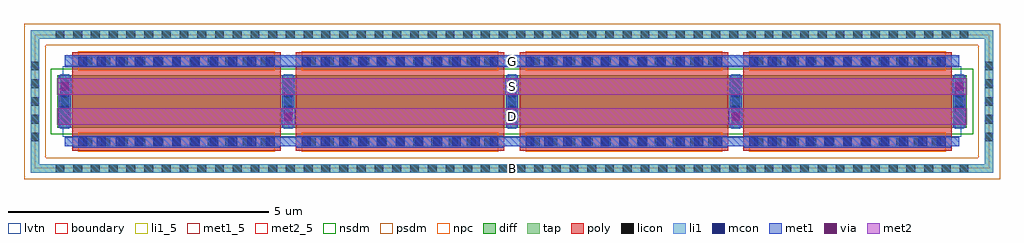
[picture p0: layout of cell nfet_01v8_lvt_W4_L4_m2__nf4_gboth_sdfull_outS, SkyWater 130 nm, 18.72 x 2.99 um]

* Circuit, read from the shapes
.subckt nfet_01v8_lvt_W4_L4_m2__nf4_gboth_sdfull_outS B D G S
XM1 D G S B sky130_fd_pr__nfet_01v8_lvt w=1 l=4 m=4
.ends

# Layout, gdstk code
import gdstk
lib = gdstk.Library(unit=1e-6, precision=1e-09)
def R(c, l, rs):  # rectangles x0, y0, x1, y1
    for r in rs: c.add(gdstk.rectangle(r[:2], r[2:], *l))
def A(c, l, x, y, w, h, nx, ny, dx, dy):  # array of equal rectangles
    R(c, l, [(x+i*dx, y+j*dy, x+i*dx+w, y+j*dy+h) for i in range(nx) for j in range(ny)])
diff = (65, 20)
tap = (65, 44)
poly = (66, 20)
licon = (66, 44)
li1_5 = (67, 5)
li1 = (67, 20)
mcon = (67, 44)
met1_5 = (68, 5)
met1 = (68, 20)
via = (68, 44)
met2_5 = (69, 5)
met2 = (69, 20)
nsdm = (93, 44)
psdm = (94, 20)
npc = (95, 20)
lvtn = (125, 44)
boundary = (235, 4)

sky130_fd_pr__nfet_01v8_ = lib.new_cell('sky130_fd_pr__nfet_01v8_lvt_U4YZBR')
R(sky130_fd_pr__nfet_01v8_, diff, [(-8.725,-0.5,8.725,0.5)])
R(sky130_fd_pr__nfet_01v8_, tap, [(-9.235,-1.37,9.235,-1.2), (-9.235,-1.2,-9.065,1.2), (9.065,-1.2,9.235,1.2), (-9.235,1.2,9.235,1.37)])
A(sky130_fd_pr__nfet_01v8_, poly, -8.435, -0.94, 4, 1.88, 4, 1, 4.29, 0)
A(sky130_fd_pr__nfet_01v8_, licon, -8.755, -1.37, 0.17, 0.17, 52, 2, 0.34, 2.57)
A(sky130_fd_pr__nfet_01v8_, licon, -8.22, -0.86, 0.17, 0.17, 11, 2, 0.34, 1.55)
A(sky130_fd_pr__nfet_01v8_, licon, -3.93, -0.86, 0.17, 0.17, 11, 2, 0.34, 1.55)
A(sky130_fd_pr__nfet_01v8_, licon, 0.36, -0.86, 0.17, 0.17, 11, 2, 0.34, 1.55)
A(sky130_fd_pr__nfet_01v8_, licon, 4.65, -0.86, 0.17, 0.17, 11, 2, 0.34, 1.55)
A(sky130_fd_pr__nfet_01v8_, licon, -9.235, -0.765, 0.17, 0.17, 1, 5, 0, 0.34)
A(sky130_fd_pr__nfet_01v8_, licon, 9.065, -0.765, 0.17, 0.17, 1, 5, 0, 0.34)
A(sky130_fd_pr__nfet_01v8_, licon, -8.665, -0.425, 0.17, 0.17, 5, 3, 4.29, 0.34)
A(sky130_fd_pr__nfet_01v8_, li1, -8.665, -0.52, 0.17, 1.04, 5, 1, 4.29, 0)
R(sky130_fd_pr__nfet_01v8_, li1, [(-9.235,-1.37,9.235,-1.2), (-9.235,-1.2,-9.065,1.2), (9.065,-1.2,9.235,1.2), (-8.58,-0.86,8.58,-0.69), (-8.58,0.69,8.58,0.86), (-9.235,1.2,9.235,1.37)])
A(sky130_fd_pr__nfet_01v8_, mcon, -8.32, -0.86, 0.17, 0.17, 11, 2, 0.36, 1.55)
A(sky130_fd_pr__nfet_01v8_, mcon, -4.03, -0.86, 0.17, 0.17, 11, 2, 0.36, 1.55)
A(sky130_fd_pr__nfet_01v8_, mcon, 0.26, -0.86, 0.17, 0.17, 11, 2, 0.36, 1.55)
A(sky130_fd_pr__nfet_01v8_, mcon, 4.55, -0.86, 0.17, 0.17, 11, 2, 0.36, 1.55)
A(sky130_fd_pr__nfet_01v8_, mcon, -8.665, -0.265, 0.17, 0.17, 5, 2, 4.29, 0.36)
A(sky130_fd_pr__nfet_01v8_, met1, -8.415, -0.89, 3.96, 0.03, 4, 2, 4.29, 0.2)
A(sky130_fd_pr__nfet_01v8_, met1, -8.695, -0.5, 0.23, 1, 5, 1, 4.29, 0)
A(sky130_fd_pr__nfet_01v8_, met1, -8.415, 0.66, 3.96, 0.03, 4, 2, 4.29, 0.2)
R(sky130_fd_pr__nfet_01v8_, met1, [(-8.58,-0.86,8.58,-0.69), (-8.58,0.69,8.58,0.86)])
R(sky130_fd_pr__nfet_01v8_, nsdm, [(-8.85,-0.625,8.85,0.625)])
R(sky130_fd_pr__nfet_01v8_, psdm, [(-9.36,-1.495,9.36,-1.075), (-9.36,-1.075,-8.94,1.075), (8.94,-1.075,9.36,1.075), (-9.36,1.075,9.36,1.495)])
A(sky130_fd_pr__nfet_01v8_, npc, -8.32, -0.96, 3.77, 0.37, 4, 2, 4.29, 1.55)
R(sky130_fd_pr__nfet_01v8_, lvtn, [(-8.615,-0.68,8.615,0.68)])
R(sky130_fd_pr__nfet_01v8_, boundary, [(-9.15,-1.285,9.15,1.285)])
sky130_fd_pr__nfet_01v8_.add(gdstk.Label('B', (0,-1.285), layer=67, texttype=5))
sky130_fd_pr__nfet_01v8_.add(gdstk.Label('D0', (-8.58,0), layer=67, texttype=5))
sky130_fd_pr__nfet_01v8_.add(gdstk.Label('G', (6.435,0.775), layer=67, texttype=5))
sky130_fd_pr__nfet_01v8_.add(gdstk.Label('G', (2.145,0.775), layer=67, texttype=5))
sky130_fd_pr__nfet_01v8_.add(gdstk.Label('G', (-2.145,0.775), layer=67, texttype=5))
sky130_fd_pr__nfet_01v8_.add(gdstk.Label('G', (-6.435,0.775), layer=67, texttype=5))
sky130_fd_pr__nfet_01v8_.add(gdstk.Label('S1', (-4.29,0), layer=67, texttype=5))
sky130_fd_pr__nfet_01v8_.add(gdstk.Label('D2', (0,0), layer=67, texttype=5))
sky130_fd_pr__nfet_01v8_.add(gdstk.Label('S3', (4.29,0), layer=67, texttype=5))

nfet_01v8_lvt_w4_l4_m2__ = lib.new_cell('nfet_01v8_lvt_W4_L4_m2__nf4_gboth_sdfull_outS')
R(nfet_01v8_lvt_w4_l4_m2__, li1_5, [(9.065,-0.085,9.235,0.085)])
R(nfet_01v8_lvt_w4_l4_m2__, li1, [(9.065,-0.085,9.235,0.085)])
R(nfet_01v8_lvt_w4_l4_m2__, met1_5, [(0.57,1.945,17.73,2.175)])
A(nfet_01v8_lvt_w4_l4_m2__, met1, 0.44, 1.415, 0.26, 0.32, 3, 1, 8.58, 0)
R(nfet_01v8_lvt_w4_l4_m2__, met1, [(4.73,0.835,4.99,1.155), (13.31,0.835,13.57,1.155), (0.57,1.945,17.73,2.175)])
A(nfet_01v8_lvt_w4_l4_m2__, via, 0.495, 1.5, 0.15, 0.15, 3, 1, 8.58, 0)
R(nfet_01v8_lvt_w4_l4_m2__, via, [(4.785,0.92,4.935,1.07), (13.365,0.92,13.515,1.07)])
R(nfet_01v8_lvt_w4_l4_m2__, met2_5, [(0.435,0.835,17.865,1.155), (0.435,1.415,17.865,1.735)])
R(nfet_01v8_lvt_w4_l4_m2__, met2, [(0.435,0.835,17.865,1.155), (0.435,1.415,17.865,1.735)])
nfet_01v8_lvt_w4_l4_m2__.add(gdstk.Reference(sky130_fd_pr__nfet_01v8_, (9.15,1.285)))
nfet_01v8_lvt_w4_l4_m2__.add(gdstk.Label('S', (9.15,1.575), layer=69, texttype=5))
nfet_01v8_lvt_w4_l4_m2__.add(gdstk.Label('D', (9.15,0.995), layer=69, texttype=5))
nfet_01v8_lvt_w4_l4_m2__.add(gdstk.Label('G', (9.15,2.06), layer=68, texttype=5))
nfet_01v8_lvt_w4_l4_m2__.add(gdstk.Label('B', (9.15,0), layer=67, texttype=5))

lib.write_gds('nfet_01v8_lvt_W4_L4_m2__nf4_gboth_sdfull_outS.gds')
